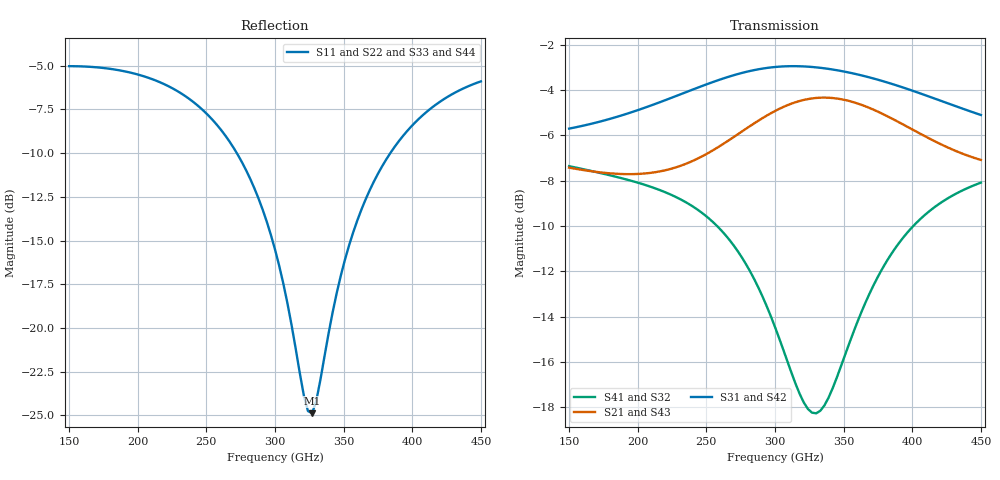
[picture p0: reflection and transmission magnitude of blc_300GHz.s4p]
#  GHZ S DB R 50
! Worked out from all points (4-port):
!   101 points, 150 GHz to 450 GHz, reference 50 ohm
!   strongest paths, dB at 150 GHz, 225 GHz, 300 GHz, 375 GHz, 450 GHz:
!     S31: -5.7, -4.3, -3.0, -3.5, -5.1
!     S42: -5.7, -4.3, -3.0, -3.5, -5.1
!     S21: -7.4, -7.5, -4.9, -5.0, -7.1
!     S43: -7.4, -7.5, -4.9, -5.0, -7.1
!     S41: -7.4, -8.6, -14.5, -12.2, -8.1
!     S32: -7.4, -8.6, -14.4, -12.3, -8.1
!   lowest |S11| = -24.9 dB at 327 GHz (marker M1), VSWR 1.12, Z = 55.5 - j2.52 ohm
!   |S11| at or under -10 dB: 272.2 GHz to 384 GHz (111.8 GHz wide, 34.1 % of centre)
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150  -5.03 156.5  -7.42 -51.3  -5.70 -78.7  -7.36 -61.3
     -7.42 -51.3  -5.03 156.6  -7.35 -61.3  -5.70 -78.7
     -5.70 -78.7  -7.35 -61.3  -5.03 156.6  -7.42 -51.3
     -7.36 -61.3  -5.70 -78.7  -7.42 -51.3  -5.03 156.5
216  -5.94 131.0  -7.59 -64.1  -4.54 -114.8  -8.41 -88.5
     -7.59 -64.1  -5.95 131.1  -8.40 -88.4  -4.54 -114.8
     -4.54 -114.8  -8.40 -88.4  -5.95 131.1  -7.59 -64.1
     -8.41 -88.5  -4.54 -114.8  -7.59 -64.1  -5.94 131.0
264  -9.02 102.9  -6.31 -74.0  -3.46 -146.2  -10.40 -111.8
     -6.31 -74.0  -9.03 103.0  -10.38 -111.9  -3.46 -146.2
     -3.46 -146.2  -10.38 -111.9  -9.03 103.0  -6.31 -74.0
     -10.40 -111.8  -3.46 -146.2  -6.31 -74.0  -9.01 102.9
294  -13.92 77.2  -5.13 -86.0  -3.03 -168.5  -13.54 -123.1
     -5.13 -86.0  -13.96 77.3  -13.50 -123.3  -3.03 -168.5
     -3.03 -168.5  -13.50 -123.3  -13.96 77.2  -5.13 -85.9
     -13.54 -123.1  -3.03 -168.5  -5.13 -85.9  -13.91 77.2
327  -24.88 -23.4  -4.37 -104.6  -2.98 166.1  -18.23 -102.0
     -4.37 -104.6  -24.87 -24.4  -18.23 -102.5  -2.98 166.1
     -2.98 166.1  -18.23 -102.5  -24.84 -24.5  -4.37 -104.6
     -18.23 -102.0  -2.98 166.1  -4.37 -104.6  -24.85 -23.2
372  -11.63 -120.1  -4.87 -130.5  -3.49 133.0  -12.58 -75.9
     -4.87 -130.5  -11.59 -120.0  -12.63 -75.9  -3.49 133.0
     -3.49 133.0  -12.63 -75.9  -11.59 -120.0  -4.87 -130.5
     -12.58 -75.9  -3.49 133.0  -4.87 -130.5  -11.63 -120.0
450  -5.90 -163.2  -7.08 -157.1  -5.10 82.9  -8.08 -112.2
     -7.08 -157.1  -5.88 -163.0  -8.11 -112.1  -5.10 82.9
     -5.10 82.9  -8.11 -112.1  -5.88 -163.0  -7.08 -157.1
     -8.08 -112.2  -5.10 82.9  -7.08 -157.1  -5.90 -163.1
